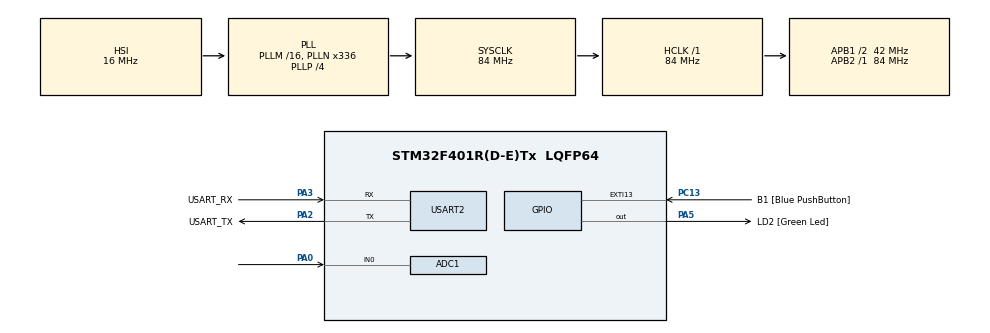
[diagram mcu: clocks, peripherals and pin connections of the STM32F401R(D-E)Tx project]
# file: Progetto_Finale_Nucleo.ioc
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ADC1.Channel-0\#ChannelRegularConversion=ADC_CHANNEL_0
ADC1.NbrOfConversionFlag=1
ADC1.Rank-0\#ChannelRegularConversion=1
ADC1.SamplingTime-0\#ChannelRegularConversion=ADC_SAMPLETIME_28CYCLES
ADC1.master=1
Mcu.Family=STM32F4
Mcu.Name=STM32F401R(D-E)Tx
Mcu.Package=LQFP64
NVIC.ADC_IRQn=true\:0\:0\:false\:false\:true\:true\:true\:true
NVIC.PriorityGroup=NVIC_PRIORITYGROUP_0
NVIC.TIM1_UP_TIM10_IRQn=true\:0\:0\:false\:false\:true\:true\:true\:true
PA0-WKUP.Signal=ADCx_IN0
PA13.GPIO_Label=TMS
PA13.Mode=Serial_Wire
PA13.Signal=SYS_JTMS-SWDIO
PA14.GPIO_Label=TCK
PA14.Mode=Serial_Wire
PA14.Signal=SYS_JTCK-SWCLK
PA2.GPIO_Label=USART_TX
PA2.GPIO_Mode=GPIO_MODE_AF_PP
PA2.GPIO_PuPd=GPIO_NOPULL
PA2.GPIO_Speed=GPIO_SPEED_FREQ_LOW
PA2.Mode=Asynchronous
PA2.Signal=USART2_TX
PA3.GPIO_Label=USART_RX
PA3.GPIO_Mode=GPIO_MODE_AF_PP
PA3.GPIO_PuPd=GPIO_NOPULL
PA3.GPIO_Speed=GPIO_SPEED_FREQ_LOW
PA3.Mode=Asynchronous
PA3.Signal=USART2_RX
PA5.GPIO_Label=LD2 [Green Led]
PA5.GPIO_Mode=GPIO_MODE_OUTPUT_PP
PA5.GPIO_PuPd=GPIO_NOPULL
PA5.GPIO_Speed=GPIO_SPEED_FREQ_LOW
PA5.Signal=GPIO_Output
PB3.GPIO_Label=SWO
PB3.Signal=SYS_JTDO-SWO
PC13-ANTI_TAMP.GPIO_Label=B1 [Blue PushButton]
PC13-ANTI_TAMP.GPIO_ModeDefaultEXTI=GPIO_MODE_IT_FALLING
PC13-ANTI_TAMP.GPIO_PuPd=GPIO_NOPULL
PC13-ANTI_TAMP.Signal=GPXTI13
PC14-OSC32_IN.Mode=LSE-External-Oscillator
PC14-OSC32_IN.Signal=RCC_OSC32_IN
PC15-OSC32_OUT.Mode=LSE-External-Oscillator
PC15-OSC32_OUT.Signal=RCC_OSC32_OUT
PH0\ -\ OSC_IN.Mode=HSE-External-Clock-Source
PH0\ -\ OSC_IN.Signal=RCC_OSC_IN
PH1\ -\ OSC_OUT.Mode=HSE-External-Clock-Source
PH1\ -\ OSC_OUT.Signal=RCC_OSC_OUT
ProjectManager.HeapSize=0x200
ProjectManager.StackSize=0x400
ProjectManager.TargetToolchain=STM32CubeIDE
RCC.48MHZClocksFreq_Value=48000000
RCC.AHBFreq_Value=84000000
RCC.APB1CLKDivider=RCC_HCLK_DIV2
RCC.APB1Freq_Value=42000000
RCC.APB1TimFreq_Value=84000000
RCC.APB2Freq_Value=84000000
RCC.APB2TimFreq_Value=84000000
RCC.CortexFreq_Value=84000000
RCC.HCLKFreq_Value=84000000
RCC.HSE_VALUE=8000000
RCC.HSI_VALUE=16000000
RCC.PLLN=336
RCC.PLLP=RCC_PLLP_DIV4
RCC.PLLQ=7
RCC.SYSCLKFreq_VALUE=84000000
RCC.SYSCLKSource=RCC_SYSCLKSOURCE_PLLCLK
RCC.VCOOutputFreq_Value=336000000
SH.ADCx_IN0.0=ADC1_IN0,IN0
STMicroelectronics.X-CUBE-ALGOBUILD.1.3.0.LibraryCcDSPOoLibraryJjDSPOoLibrary=true
TIM10.Period=100-1
TIM10.Prescaler=8400-1
USART2.VirtualMode=VM_ASYNC
VP_STMicroelectronics.X-CUBE-ALGOBUILD_VS_DSPOoLibraryJjLibrary_1.3.0_1.3.0.Mode=DSPOoLibraryJjLibrary
VP_TIM10_VS_ClockSourceINT.Mode=Enable_Timer
board=NUCLEO-F401RE

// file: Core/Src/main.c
/* USER CODE BEGIN Header */
/**
  ******************************************************************************
  * @file           : main.c
  * @brief          : Main program body
  ******************************************************************************
  * @attention
  *
  * Copyright (c) 2023 STMicroelectronics.
  * All rights reserved.
  *
  * This software is licensed under terms that can be found in the LICENSE file
  * in the root directory of this software component.
  * If no LICENSE file comes with this software, it is provided AS-IS.
  *
  ******************************************************************************
  */
/* USER CODE END Header */
#include "main.h"

/* USER CODE BEGIN Includes */
#include "stdio.h"
#include "arm_math.h"

/* USER CODE END Includes */

/* USER CODE BEGIN PD */

#define BUFFER_SIZE 1024
#define SAMPLE_FREQ 100

/* USER CODE END PD */

/* USER CODE BEGIN PM */

int Timer_Flag = 0;

int ADC_counter = 0;
int ADC_Value = 0;
float ADC_buffer[BUFFER_SIZE];

float peakValue = 0;
float peakHz = 0;
float curVal = 0;
int ADC_Buffer_Med = 0;
float fft_buffer_in[BUFFER_SIZE];
float fft_buffer_out[BUFFER_SIZE];

int freqResp = 0;

/* USER CODE END PM */

ADC_HandleTypeDef hadc1;

TIM_HandleTypeDef htim10;

UART_HandleTypeDef huart2;

/* USER CODE BEGIN PV */

arm_rfft_fast_instance_f32 fft_handler;
void dofft(void);

/* USER CODE END PV */

void SystemClock_Config(void);
static void MX_GPIO_Init(void);
static void MX_USART2_UART_Init(void);
static void MX_ADC1_Init(void);
static void MX_TIM10_Init(void);

int main(void)
{

  /* MCU Configuration--------------------------------------------------------*/

  /* Reset of all peripherals, Initializes the Flash interface and the Systick. */
  HAL_Init();

  /* Configure the system clock */
  SystemClock_Config();

  /* Initialize all configured peripherals */
  MX_GPIO_Init();
  MX_USART2_UART_Init();
  MX_ADC1_Init();
  MX_TIM10_Init();
  /* USER CODE BEGIN 2 */
  HAL_ADC_Start_IT(&hadc1);
  HAL_TIM_Base_Start_IT(&htim10);
  arm_rfft_fast_init_f32(&fft_handler, BUFFER_SIZE);

  /* USER CODE END 2 */

  /* Infinite loop */
  /* USER CODE BEGIN WHILE */
  while (1)
  {
	  if (Timer_Flag){
		  if (ADC_counter < BUFFER_SIZE){
			  // AT THE START WE STORE IN THE BUFFER BUFFER_SIZE samples*10ms = 10s
			  ADC_buffer[ADC_counter] = ADC_Value;
			  ADC_counter++;
			  }
		  else{
			  // Shift the buffer and store the last ADC data
			  for(int i = 0; i < BUFFER_SIZE-1; i++){
				  ADC_buffer[i] = ADC_buffer[i+1];
			  }
			  ADC_buffer[BUFFER_SIZE-1] = ADC_Value;
			  // Copy the ADC buffer into the FFT buffer, dofft() will modify it
			  for(int i = 0; i < BUFFER_SIZE; i++){
				  fft_buffer_in[i] = ADC_buffer[i];
			  }
			  // DO FFT AND SET peak values
			  dofft();
			  freqResp = peakHz*60;
			  // I2C LOG of the frequency
		  }
		  HAL_ADC_Start_IT(&hadc1);
		  Timer_Flag = 0;
	  }
    /* USER CODE END WHILE */

  }
}

void SystemClock_Config(void)
{
  RCC_OscInitTypeDef RCC_OscInitStruct = {0};
  RCC_ClkInitTypeDef RCC_ClkInitStruct = {0};

  /** Configure the main internal regulator output voltage
  */
  __HAL_RCC_PWR_CLK_ENABLE();
  __HAL_PWR_VOLTAGESCALING_CONFIG(PWR_REGULATOR_VOLTAGE_SCALE2);

  /** Initializes the RCC Oscillators according to the specified parameters
  * in the RCC_OscInitTypeDef structure.
  */
  RCC_OscInitStruct.OscillatorType = RCC_OSCILLATORTYPE_HSI;
  RCC_OscInitStruct.HSIState = RCC_HSI_ON;
  RCC_OscInitStruct.HSICalibrationValue = RCC_HSICALIBRATION_DEFAULT;
  RCC_OscInitStruct.PLL.PLLState = RCC_PLL_ON;
  RCC_OscInitStruct.PLL.PLLSource = RCC_PLLSOURCE_HSI;
  RCC_OscInitStruct.PLL.PLLM = 16;
  RCC_OscInitStruct.PLL.PLLN = 336;
  RCC_OscInitStruct.PLL.PLLP = RCC_PLLP_DIV4;
  RCC_OscInitStruct.PLL.PLLQ = 7;
  if (HAL_RCC_OscConfig(&RCC_OscInitStruct) != HAL_OK)
  {
    Error_Handler();
  }

  /** Initializes the CPU, AHB and APB buses clocks
  */
  RCC_ClkInitStruct.ClockType = RCC_CLOCKTYPE_HCLK|RCC_CLOCKTYPE_SYSCLK
                              |RCC_CLOCKTYPE_PCLK1|RCC_CLOCKTYPE_PCLK2;
  RCC_ClkInitStruct.SYSCLKSource = RCC_SYSCLKSOURCE_PLLCLK;
  RCC_ClkInitStruct.AHBCLKDivider = RCC_SYSCLK_DIV1;
  RCC_ClkInitStruct.APB1CLKDivider = RCC_HCLK_DIV2;
  RCC_ClkInitStruct.APB2CLKDivider = RCC_HCLK_DIV1;

  if (HAL_RCC_ClockConfig(&RCC_ClkInitStruct, FLASH_LATENCY_2) != HAL_OK)
  {
    Error_Handler();
  }
}

static void MX_ADC1_Init(void)
{

  ADC_ChannelConfTypeDef sConfig = {0};

  /** Configure the global features of the ADC (Clock, Resolution, Data Alignment and number of conversion)
  */
  hadc1.Instance = ADC1;
  hadc1.Init.ClockPrescaler = ADC_CLOCK_SYNC_PCLK_DIV4;
  hadc1.Init.Resolution = ADC_RESOLUTION_12B;
  hadc1.Init.ScanConvMode = DISABLE;
  hadc1.Init.ContinuousConvMode = DISABLE;
  hadc1.Init.DiscontinuousConvMode = DISABLE;
  hadc1.Init.ExternalTrigConvEdge = ADC_EXTERNALTRIGCONVEDGE_NONE;
  hadc1.Init.ExternalTrigConv = ADC_SOFTWARE_START;
  hadc1.Init.DataAlign = ADC_DATAALIGN_RIGHT;
  hadc1.Init.NbrOfConversion = 1;
  hadc1.Init.DMAContinuousRequests = DISABLE;
  hadc1.Init.EOCSelection = ADC_EOC_SINGLE_CONV;
  if (HAL_ADC_Init(&hadc1) != HAL_OK)
  {
    Error_Handler();
  }

  /** Configure for the selected ADC regular channel its corresponding rank in the sequencer and its sample time.
  */
  sConfig.Channel = ADC_CHANNEL_0;
  sConfig.Rank = 1;
  sConfig.SamplingTime = ADC_SAMPLETIME_28CYCLES;
  if (HAL_ADC_ConfigChannel(&hadc1, &sConfig) != HAL_OK)
  {
    Error_Handler();
  }

}

static void MX_TIM10_Init(void)
{

  htim10.Instance = TIM10;
  htim10.Init.Prescaler = 8400-1;
  htim10.Init.CounterMode = TIM_COUNTERMODE_UP;
  htim10.Init.Period = SAMPLE_FREQ-1;
  htim10.Init.ClockDivision = TIM_CLOCKDIVISION_DIV1;
  htim10.Init.AutoReloadPreload = TIM_AUTORELOAD_PRELOAD_DISABLE;
  if (HAL_TIM_Base_Init(&htim10) != HAL_OK)
  {
    Error_Handler();
  }

}

static void MX_USART2_UART_Init(void)
{

  huart2.Instance = USART2;
  huart2.Init.BaudRate = 115200;
  huart2.Init.WordLength = UART_WORDLENGTH_8B;
  huart2.Init.StopBits = UART_STOPBITS_1;
  huart2.Init.Parity = UART_PARITY_NONE;
  huart2.Init.Mode = UART_MODE_TX_RX;
  huart2.Init.HwFlowCtl = UART_HWCONTROL_NONE;
  huart2.Init.OverSampling = UART_OVERSAMPLING_16;
  if (HAL_UART_Init(&huart2) != HAL_OK)
  {
    Error_Handler();
  }

}

static void MX_GPIO_Init(void)
{
  GPIO_InitTypeDef GPIO_InitStruct = {0};

  /* GPIO Ports Clock Enable */
  __HAL_RCC_GPIOC_CLK_ENABLE();
  __HAL_RCC_GPIOH_CLK_ENABLE();
  __HAL_RCC_GPIOA_CLK_ENABLE();
  __HAL_RCC_GPIOB_CLK_ENABLE();

  /*Configure GPIO pin Output Level */
  HAL_GPIO_WritePin(LD2_GPIO_Port, LD2_Pin, GPIO_PIN_RESET);

  /*Configure GPIO pin : B1_Pin */
  GPIO_InitStruct.Pin = B1_Pin;
  GPIO_InitStruct.Mode = GPIO_MODE_IT_FALLING;
  GPIO_InitStruct.Pull = GPIO_NOPULL;
  HAL_GPIO_Init(B1_GPIO_Port, &GPIO_InitStruct);

  /*Configure GPIO pin : LD2_Pin */
  GPIO_InitStruct.Pin = LD2_Pin;
  GPIO_InitStruct.Mode = GPIO_MODE_OUTPUT_PP;
  GPIO_InitStruct.Pull = GPIO_NOPULL;
  GPIO_InitStruct.Speed = GPIO_SPEED_FREQ_LOW;
  HAL_GPIO_Init(LD2_GPIO_Port, &GPIO_InitStruct);

}

/* USER CODE BEGIN 4 */

void HAL_TIM_PeriodElapsedCallback(TIM_HandleTypeDef *htim){
	Timer_Flag = 1;
}

void HAL_ADC_ConvCpltCallback(ADC_HandleTypeDef *hadc){
	ADC_Value = HAL_ADC_GetValue(&hadc1);
	if (ADC_Value > 4080) ADC_Value = 4095;
	if (ADC_Value < 15) ADC_Value = 0;
}

void dofft(void){
	// I calculate the medium value of the buffer, to know if numbers are changing
	ADC_Buffer_Med = 0;
	for (int i = 0; i < BUFFER_SIZE; i++) ADC_Buffer_Med += fft_buffer_in[i];
	ADC_Buffer_Med = ADC_Buffer_Med/BUFFER_SIZE;
	// this function return real and imaginary parts for each frequency
	arm_rfft_fast_f32(&fft_handler, fft_buffer_in, fft_buffer_out, 0);
	// remove DC components, only if the signal is received
	if (ADC_Buffer_Med > 10 && ADC_Buffer_Med < 4085)	fft_buffer_out[0] = 0;
	// reset the peaks
	peakValue = 0;
	peakHz = 0;
	// store new peaks
	for(int i = 0; i < BUFFER_SIZE; i += 2){
		curVal = sqrt((fft_buffer_out[i]*fft_buffer_out[i]) + (fft_buffer_out[i+1]*fft_buffer_out[i+1]));
		if (curVal > peakValue){
			peakValue = curVal;
			peakHz = (float)(i/2*(SAMPLE_FREQ)) / ((float)BUFFER_SIZE);
		}
	}
}

/* USER CODE END 4 */

void Error_Handler(void)
{
  /* USER CODE BEGIN Error_Handler_Debug */
  /* User can add his own implementation to report the HAL error return state */
  __disable_irq();
  while (1)
  {
	  HAL_GPIO_TogglePin(LD2_GPIO_Port, LD2_Pin);
	  HAL_Delay(100);
  }
  /* USER CODE END Error_Handler_Debug */
}
